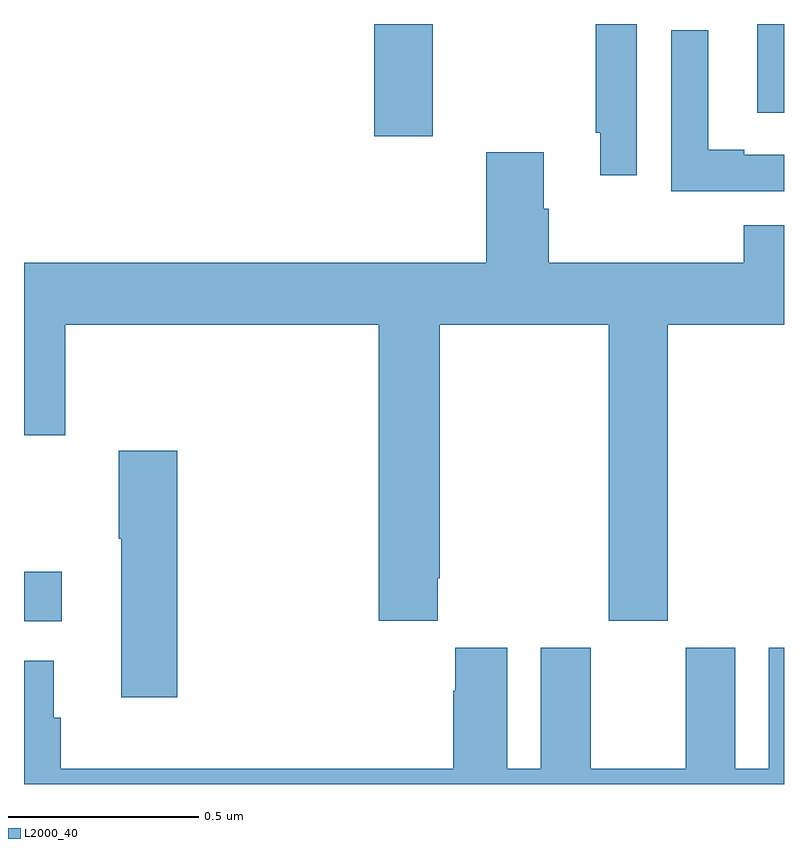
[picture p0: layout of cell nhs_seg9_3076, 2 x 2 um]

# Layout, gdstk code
import gdstk
lib = gdstk.Library(unit=1e-6, precision=1e-09)
def R(c, l, rs):  # rectangles x0, y0, x1, y1
    for r in rs: c.add(gdstk.rectangle(r[:2], r[2:], *l))
def P(c, l, *ps):  # polygons
    for p in ps: c.add(gdstk.Polygon(p, *l))
L2000_40 = (2000, 40)

nhs_seg9_3076 = lib.new_cell('nhs_seg9_3076')
R(nhs_seg9_3076, L2000_40, [(148,1240.928,148.099,1241.058), (148.922,1242.204,149.076,1242.5), (149.93,1242.266,150,1242.5)])
P(nhs_seg9_3076, L2000_40, [(149.613,1242.5),(149.505,1242.5),(149.505,1242.214),(149.516,1242.214),(149.516,1242.102),(149.613,1242.102)],
  [(150,1242.156),(149.896,1242.156),(149.896,1242.169),(149.8,1242.169),(149.8,1242.484),(149.703,1242.484),(149.703,1242.06),(150,1242.06)],
  [(149.089,1241.041),(149.094,1241.041),(149.094,1241.708),(149.539,1241.708),(149.539,1240.929),(149.694,1240.929),(149.694,1241.708),(150,1241.708),(150,1241.97),(149.894,1241.97),(149.894,1241.872),(149.381,1241.872),(149.381,1242.014),(149.368,1242.014),(149.368,1242.163),(149.216,1242.163),(149.216,1241.872),(148,1241.872),(148,1241.418),(148.109,1241.418),(148.109,1241.708),(148.934,1241.708),(148.934,1240.929),(149.089,1240.929)],
  [(148.403,1241.377),(148.249,1241.377),(148.249,1241.146),(148.256,1241.146),(148.256,1240.728),(148.403,1240.728)],
  [(150,1240.858),(149.96,1240.858),(149.96,1240.54),(149.872,1240.54),(149.872,1240.858),(149.741,1240.858),(149.741,1240.54),(149.491,1240.54),(149.491,1240.858),(149.36,1240.858),(149.36,1240.54),(149.272,1240.54),(149.272,1240.858),(149.135,1240.858),(149.135,1240.745),(149.129,1240.745),(149.129,1240.54),(148.097,1240.54),(148.097,1240.674),(148.078,1240.674),(148.078,1240.825),(148,1240.825),(148,1240.5),(150,1240.5)])

lib.write_gds('nhs_seg9_3076.gds')
